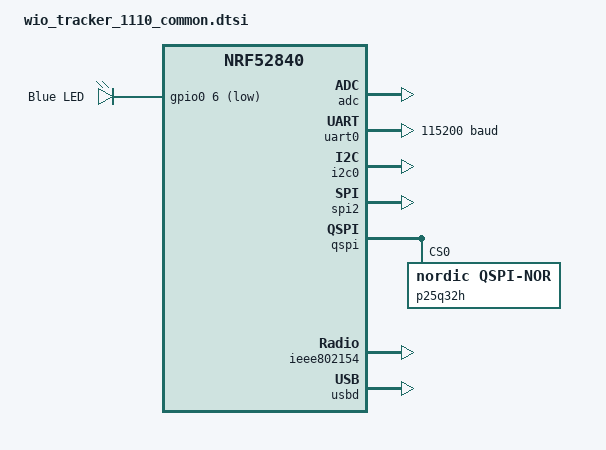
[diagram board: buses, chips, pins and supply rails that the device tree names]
/*
 * Copyright (c) 2022 Marcin Niestroj
 * Copyright (c) 2022 Peter Johanson
 *
 * SPDX-License-Identifier: Apache-2.0
 */

#include <nordic/nrf52840_qiaa.dtsi>
#include "wio_tracker_1110-pinctrl.dtsi"
#include "seeed_wio_tracker_1110_connector.dtsi"

/ {
	chosen {
		zephyr,console = &usb_cdc_acm_uart;
		zephyr,shell-uart = &usb_cdc_acm_uart;
		zephyr,uart-mcumgr = &usb_cdc_acm_uart;
		zephyr,bt-mon-uart = &usb_cdc_acm_uart;
		zephyr,bt-c2h-uart = &usb_cdc_acm_uart;
		zephyr,sram = &sram0;
		zephyr,flash = &flash0;
		zephyr,code-partition = &code_partition;
		zephyr,ieee802154 = &ieee802154;
	};

	leds {
		compatible = "gpio-leds";
		led0: led_0 {
			gpios = <&gpio0 6 GPIO_ACTIVE_LOW>;
			label = "Blue LED";
		};
	};

	/* These aliases are provided for compatibility with samples */
	aliases {
		led0 = &led0;
		bootloader-led0 = &led0;
		mcuboot-led0 = &led0;
		watchdog0 = &wdt0;
		spi-flash0 = &p25q32h;
	};
};

&adc {
	status = "okay";
};

&uicr {
	gpio-as-nreset;
};

&gpiote {
	status = "okay";
};

&gpio0 {
	status = "okay";
};

&gpio1 {
	status = "okay";
};

&uart0 {
	compatible = "nordic,nrf-uarte";
	status = "okay";
	current-speed = <115200>;
	pinctrl-0 = <&uart0_default>;
	pinctrl-1 = <&uart0_sleep>;
	pinctrl-names = "default", "sleep";
};

&i2c0 {
	compatible = "nordic,nrf-twi";
	/* Cannot be used together with spi1. */
	status = "okay";
	pinctrl-0 = <&i2c0_default>;
	pinctrl-1 = <&i2c0_sleep>;
	pinctrl-names = "default", "sleep";
};



&spi2 {
	compatible = "nordic,nrf-spi";
	status = "okay";
	pinctrl-0 = <&spi2_default>;
	pinctrl-1 = <&spi2_sleep>;
	pinctrl-names = "default", "sleep";
};

&qspi {
	status = "okay";
	pinctrl-0 = <&qspi_default>;
	pinctrl-1 = <&qspi_sleep>;
	pinctrl-names = "default", "sleep";
	p25q32h: p25q32h@0 {
		compatible = "nordic,qspi-nor";
		reg = <0>;
		sck-frequency = <104000000>;
		quad-enable-requirements = "S2B1v1";
		jedec-id = [85 60 16];
		sfdp-bfp = [
			e5 20 f1 ff  ff ff ff 01  44 eb 08 6b  08 3b 80 bb
			ee ff ff ff  ff ff 00 ff  ff ff 00 ff  0c 20 0f 52
			10 d8 08 81
		];
		size = <33554432>;
		has-dpd;
		t-enter-dpd = <3000>;
		t-exit-dpd = <8000>;
	};
};

&ieee802154 {
	status = "okay";
};

&flash0 {
	partitions {
		compatible = "fixed-partitions";
		#address-cells = <1>;
		#size-cells = <1>;

		sd_partition: partition@0 {
			label = "softdevice";
			reg = <0x00000000 0x00026000>;
		};

		code_partition: partition@26000 {
			label = "code_partition";
			reg = <0x00026000 0x000c2000>;
		};

		factory_partition: partition@e8000 {
			label = "factory_partition";
			reg = <0x000e8000 0x00001000>;
		};
		lbm_partition: partition@e9000 {
			label = "lbm_partition";
			reg = <0x000e9000 0x00004000>;
		};
		/*
		 * The flash starting at 0x000ed000 and ending at
		 * 0x000f3fff is reserved for use by the application.
		 *
		 * Storage partition will be used by FCB/LittleFS/NVS
		 * if enabled.
		 */
		storage_partition: partition@ed000 {
			label = "storage";
			reg = <0x000ed000 0x00007000>;
		};

		boot_partition: partition@f4000 {
			label = "adafruit_boot";
			reg = <0x000f4000 0x0000c000>;
		};
	};
};

zephyr_udc0: &usbd {
	compatible = "nordic,nrf-usbd";
	status = "okay";

	usb_cdc_acm_uart: cdc-acm-uart {
		compatible = "zephyr,cdc-acm-uart";
	};
};
